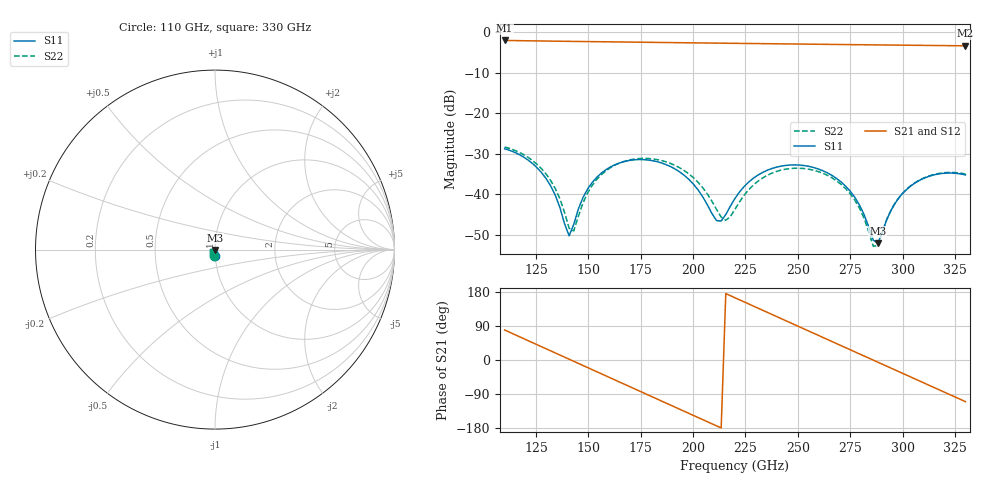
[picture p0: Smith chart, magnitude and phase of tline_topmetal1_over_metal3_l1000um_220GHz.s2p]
#  GHZ S DB R 50
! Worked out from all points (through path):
!   101 points, 110 GHz to 330 GHz, reference 50 ohm
!   highest |S21| = -2.00 dB at 110 GHz (marker M1); lowest = -3.3 dB at 330 GHz (marker M2)
!   group delay of S21, straight-line fit = 6.93 ps
!   lowest |S11| = -52.2 dB at 288.2 GHz (marker M3), VSWR 1.00, Z = 50 - j0.246 ohm
!   |S11| at or under -10 dB: start of sweep to end of sweep
!   |S22| runs from -52.9 to -28.4 dB; largest |S21 - S12| = 7.9e-14
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110  -28.78 -94.3  -2.00 79.2  -2.00 79.2  -28.37 -94.8
129.8  -36.16 -135.6  -2.15 29.6  -2.15 29.6  -35.05 -136.9
136.4  -43.32 -136.5  -2.20 13.1  -2.20 13.1  -41.17 -141.7
140.8  -50.32 -84.6  -2.23 2.1  -2.23 2.1  -48.44 -114.1
143  -47.52 -45.5  -2.24 -3.4  -2.24 -3.4  -49.13 -70.2
147.4  -40.89 -29.6  -2.27 -14.4  -2.27 -14.4  -42.21 -35.9
154  -35.85 -36.8  -2.31 -30.9  -2.31 -30.9  -36.38 -39.3
162.8  -32.72 -54.6  -2.37 -52.9  -2.37 -52.9  -32.82 -56.3
184.8  -32.28 -103.8  -2.50 -107.9  -2.50 -107.9  -31.69 -105.4
198  -36.39 -128.8  -2.59 -140.9  -2.59 -140.9  -35.02 -131.9
211.2  -46.57 -103.5  -2.67 -173.8  -2.67 -173.8  -43.82 -131.9
215.6  -45.05 -62.9  -2.69 175.2  -2.69 175.2  -46.48 -98.6
220  -41.07 -50.3  -2.72 164.2  -2.72 164.2  -43.75 -67.6
235.4  -34.11 -69.8  -2.81 125.8  -2.81 125.8  -35.36 -73.6
257.4  -33.41 -118.2  -2.93 70.9  -2.93 70.9  -34.09 -120.5
275  -39.30 -154.0  -3.03 27.1  -3.03 27.1  -39.93 -156.3
281.6  -45.04 -157.4  -3.07 10.7  -3.07 10.7  -45.97 -159.6
286  -51.38 -131.1  -3.09 -0.3  -3.09 -0.3  -52.89 -128.1
288.2  -52.15 -93.9  -3.11 -5.8  -3.11 -5.8  -52.82 -85.7
294.8  -43.73 -56.2  -3.14 -22.2  -3.14 -22.2  -43.61 -54.4
310.2  -36.08 -80.6  -3.22 -60.5  -3.22 -60.5  -36.00 -80.7
330  -35.25 -125.8  -3.33 -109.8  -3.33 -109.8  -35.03 -126.1
